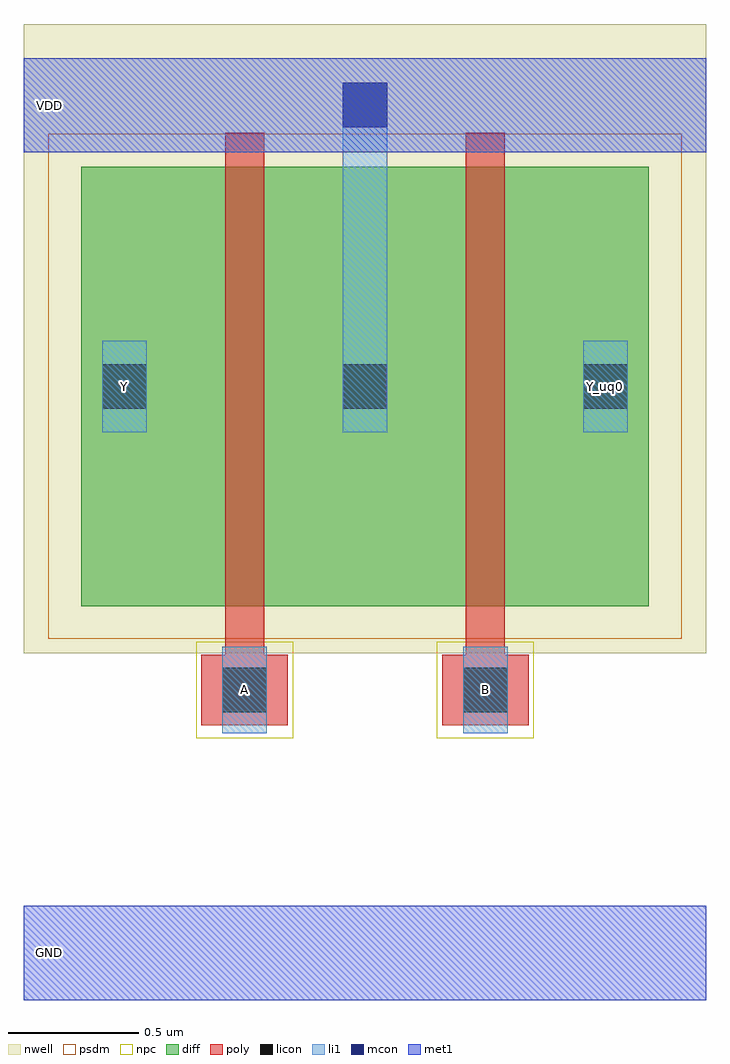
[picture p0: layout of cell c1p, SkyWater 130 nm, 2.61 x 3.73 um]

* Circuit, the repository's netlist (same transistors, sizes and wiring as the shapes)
* NGSPICE file created from c1p.ext - technology: sky130A

.subckt c1p A B Y VDD GND Y_uq0
X0 VDD A Y w_0_229# sky130_fd_pr__pfet_01v8 ad=0.6468 pd=2.45 as=0.924 ps=4.46 w=1.68 l=0.15
X1 Y_uq0 B VDD w_0_229# sky130_fd_pr__pfet_01v8 ad=0.924 pd=4.46 as=0.6468 ps=2.45 w=1.68 l=0.15
.ends

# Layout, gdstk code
import gdstk
lib = gdstk.Library(unit=1e-6, precision=1e-09)
def R(c, l, rs):  # rectangles x0, y0, x1, y1
    for r in rs: c.add(gdstk.rectangle(r[:2], r[2:], *l))
def A(c, l, x, y, w, h, nx, ny, dx, dy):  # array of equal rectangles
    R(c, l, [(x+i*dx, y+j*dy, x+i*dx+w, y+j*dy+h) for i in range(nx) for j in range(ny)])
nwell = (64, 20)
diff = (65, 20)
poly = (66, 20)
licon = (66, 44)
li1 = (67, 20)
mcon = (67, 44)
met1 = (68, 20)
psdm = (94, 20)
npc = (95, 20)

c1p = lib.new_cell('c1p')
R(c1p, nwell, [(0,1.145,2.61,3.55)])
R(c1p, diff, [(0.22,1.325,2.39,3.005)])
R(c1p, poly, [(0.68,0.87,1.01,1.14), (1.6,0.87,1.93,1.14), (0.77,1.14,0.92,3.135), (1.69,1.14,1.84,3.135)])
A(c1p, licon, 0.3, 2.08, 0.17, 0.17, 3, 1, 0.92, 0)
R(c1p, licon, [(0.76,0.92,0.93,1.09), (1.68,0.92,1.85,1.09)])
R(c1p, li1, [(0.76,0.84,0.93,1.17), (1.68,0.84,1.85,1.17), (0.3,1.99,0.47,2.34), (1.22,1.99,1.39,3.325), (2.14,1.99,2.31,2.34)])
R(c1p, mcon, [(1.22,3.155,1.39,3.325)])
R(c1p, met1, [(0,-0.18,2.61,0.18), (0,3.06,2.61,3.42)])
R(c1p, psdm, [(0.095,1.2,2.515,3.13)])
R(c1p, npc, [(0.66,0.82,1.03,1.19), (1.58,0.82,1.95,1.19)])
c1p.add(gdstk.Label('A', (0.845,1.005), layer=67, texttype=5))
c1p.add(gdstk.Label('B', (1.765,1.005), layer=67, texttype=5))
c1p.add(gdstk.Label('Y', (0.385,2.165), layer=67, texttype=5))
c1p.add(gdstk.Label('VDD', (0.1,3.24), layer=68, texttype=5))
c1p.add(gdstk.Label('GND', (0.1,0), layer=68, texttype=5))
c1p.add(gdstk.Label('Y_uq0', (2.225,2.165), layer=67, texttype=5))

lib.write_gds('c1p.gds')
